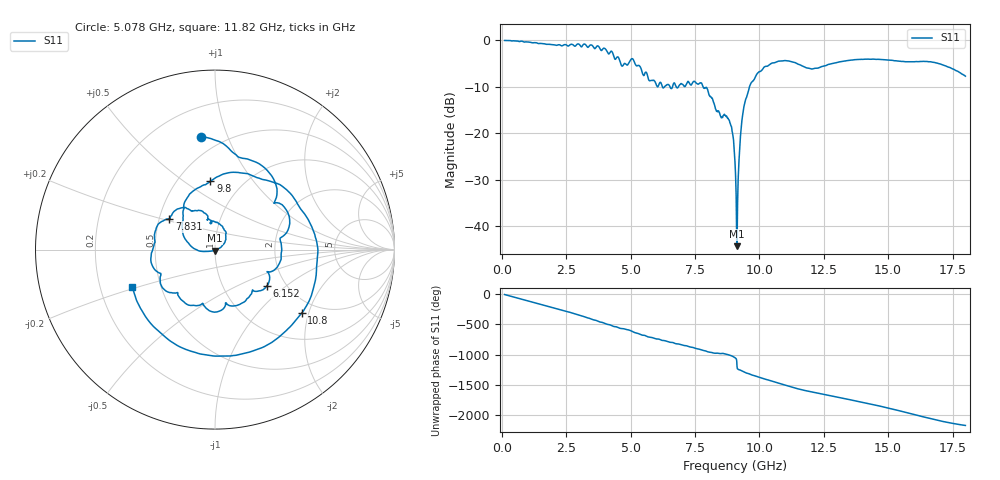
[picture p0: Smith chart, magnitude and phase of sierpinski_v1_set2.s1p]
!Keysight Technologies,N5222B,MY60213399,A.14.00.23
!Date: Monday, June 05, 2023 21:16:40
!Correction: S11(C  1-Port  )
!S1P File: Measurement: :
# Hz S  dB  R 50
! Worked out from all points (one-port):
!   1601 points, 100 MHz to 18 GHz, reference 50 ohm
!   lowest |S11| = -44.4 dB at 9.128 GHz (marker M1), VSWR 1.01, Z = 49.8 - j0.558 ohm
!   |S11| at or under -10 dB: 6.525 GHz to 6.621 GHz (95.84 MHz wide, 1.46 % of centre); 6.768 GHz to 6.852 GHz (84.3 MHz wide, 1.24 % of centre); 7.814 GHz to 9.612 GHz (1.798 GHz wide, 20.6 % of centre)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
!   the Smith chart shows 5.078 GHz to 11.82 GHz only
!   S11 on the Smith chart (normalised r, x): 5.078 GHz: 0.39, +0.81; 6.152 GHz: 1.59, -0.74; 7.831 GHz: 0.57, +0.21; 9.8 GHz: 0.71, +0.64; 10.8 GHz: 1.64, -1.81; 11.82 GHz: 0.34, -0.19
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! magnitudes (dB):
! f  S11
! 100 MHz  0.0
! 2.337 GHz  -1.2
! 3.725 GHz  -1.2
! 4.575 GHz  -4.4
! 5.078 GHz  -4.0
! 5.75 GHz  -8.7
! 6.152 GHz  -9.1
! 6.812 GHz  -10.3
! 7.484 GHz  -8.9
! 7.831 GHz  -10.3
! 8.424 GHz  -15.4
! 8.849 GHz  -17.7
! 8.972 GHz  -20.6
! 9.05 GHz  -26.3
! 9.128 GHz  -44.4
! 9.184 GHz  -28.3
! 9.274 GHz  -19.9
! 9.386 GHz  -14.7
! 9.609 GHz  -10.0
! 9.8 GHz  -8.4
! 10.2 GHz  -5.7
! 10.8 GHz  -4.5
! 11.29 GHz  -4.6
! 11.82 GHz  -5.9
! 13.53 GHz  -4.3
! 15.76 GHz  -4.6
! 16.84 GHz  -4.8
! 18 GHz  -7.7
